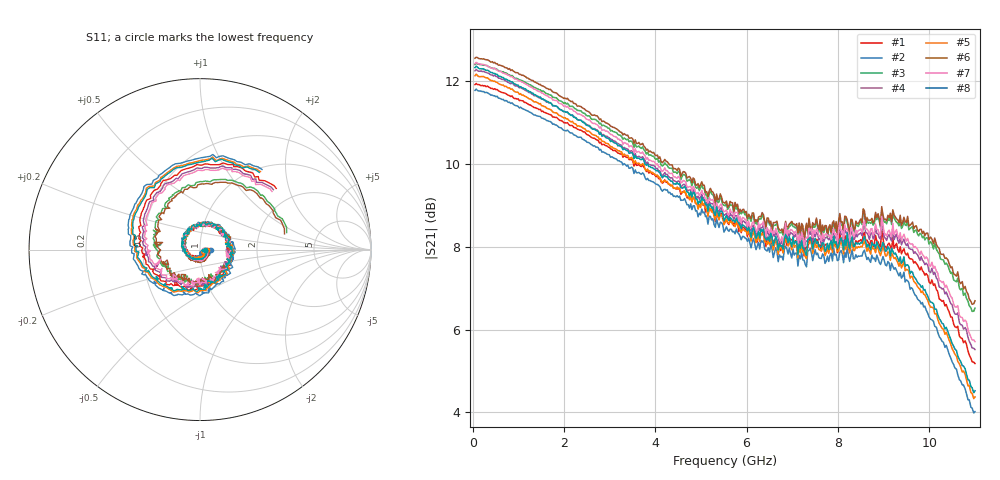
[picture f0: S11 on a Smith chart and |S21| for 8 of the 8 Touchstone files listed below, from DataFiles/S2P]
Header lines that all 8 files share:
! Mini-Circuits
! S2P DATA File Format
! Type: MMIC Amplifier
! Model: ERA-1  Reference Data:RDF-960
! Note: All S Parameters are in dB deg format
# MHz S DB R 50
!  FREQ  dB(S11)  PHS(S11)  dB(S21)  PHS(S21)  dB(S12)  PHS(S12)  dB(S22)  PHS(S22)
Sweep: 50 MHz to 11 GHz
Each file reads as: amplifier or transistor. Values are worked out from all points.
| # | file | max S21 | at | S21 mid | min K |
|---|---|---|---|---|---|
| 1 | ERA_1_32mA_Plus25.S2P | 11.9 dB | 77 MHz | 8.8 dB at 5.45 GHz | 1.15 |
| 2 | ERA_1_32mA_Plus85.S2P | 11.8 dB | 77 MHz | 8.6 dB at 5.45 GHz | 1.15 |
| 3 | ERA_1_40mA_Minus45.S2P | 12.4 dB | 77 MHz | 9.1 dB at 5.45 GHz | 1.14 |
| 4 | ERA_1_40mA_Plus25.S2P | 12.3 dB | 77 MHz | 8.9 dB at 5.45 GHz | 1.14 |
| 5 | ERA_1_40mA_Plus85.S2P | 12.2 dB | 77 MHz | 8.8 dB at 5.45 GHz | 1.14 |
| 6 | ERA_1_48mA_Minus45.S2P | 12.6 dB | 77 MHz | 9.2 dB at 5.45 GHz | 1.13 |
| 7 | ERA_1_48mA_Plus25.S2P | 12.5 dB | 77 MHz | 9.0 dB at 5.45 GHz | 1.14 |
| 8 | ERA_1_48mA_Plus85.S2P | 12.4 dB | 77 MHz | 8.9 dB at 5.45 GHz | 1.14 |
